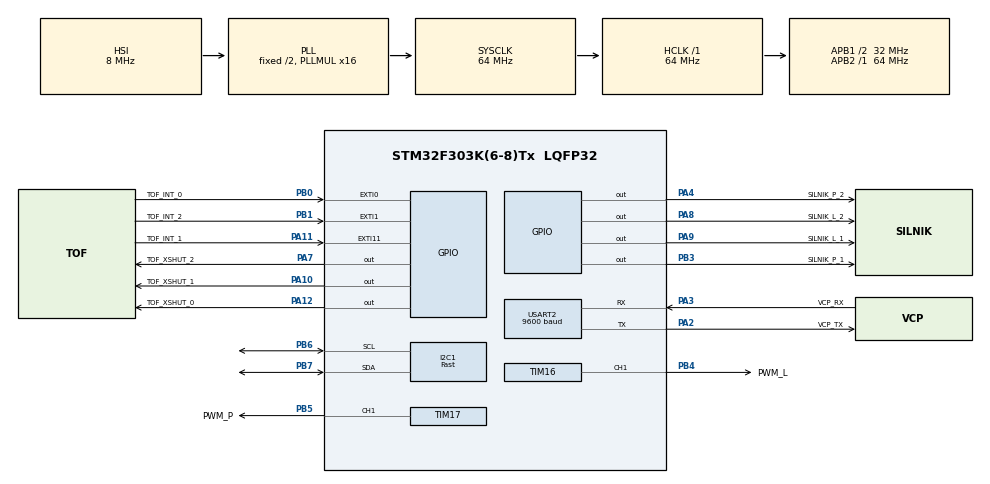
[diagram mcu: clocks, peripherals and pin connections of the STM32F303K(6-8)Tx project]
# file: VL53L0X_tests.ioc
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I2C1.I2C_Speed_Mode=I2C_Fast
I2C1.Timing=0x0000020B
Mcu.Family=STM32F3
Mcu.Name=STM32F303K(6-8)Tx
Mcu.Package=LQFP32
NVIC.EXTI0_IRQn=true\:0\:0\:false\:false\:true\:true\:true
NVIC.EXTI15_10_IRQn=true\:0\:0\:false\:false\:true\:true\:true
NVIC.EXTI1_IRQn=true\:0\:0\:false\:false\:true\:true\:true
NVIC.PriorityGroup=NVIC_PRIORITYGROUP_4
NVIC.USART2_IRQn=true\:0\:0\:false\:false\:true\:true\:true
PA10.GPIO_Label=TOF_XSHUT_1
PA10.Signal=GPIO_Output
PA11.GPIO_Label=TOF_INT_1
PA11.GPIO_ModeDefaultEXTI=GPIO_MODE_IT_FALLING
PA11.Signal=GPXTI11
PA12.GPIO_Label=TOF_XSHUT_0
PA12.Signal=GPIO_Output
PA13.GPIO_Label=SWDIO
PA13.Mode=Serial_Wire
PA13.Signal=SYS_JTMS-SWDIO
PA14.GPIO_Label=SWCLK
PA14.Mode=Serial_Wire
PA14.Signal=SYS_JTCK-SWCLK
PA2.GPIO_Label=VCP_TX
PA2.GPIO_PuPd=GPIO_NOPULL
PA2.Mode=Asynchronous
PA2.Signal=USART2_TX
PA3.GPIO_Label=VCP_RX
PA3.Mode=Asynchronous
PA3.Signal=USART2_RX
PA4.GPIO_Label=SILNIK_P_2
PA4.Signal=GPIO_Output
PA7.GPIO_Label=TOF_XSHUT_2
PA7.Signal=GPIO_Output
PA8.GPIO_Label=SILNIK_L_2
PA8.Signal=GPIO_Output
PA9.GPIO_Label=SILNIK_L_1
PA9.Signal=GPIO_Output
PB0.GPIO_Label=TOF_INT_0
PB0.GPIO_ModeDefaultEXTI=GPIO_MODE_IT_FALLING
PB0.Signal=GPXTI0
PB1.GPIO_Label=TOF_INT_2
PB1.GPIO_ModeDefaultEXTI=GPIO_MODE_IT_FALLING
PB1.Signal=GPXTI1
PB3.GPIO_Label=SILNIK_P_1
PB3.Signal=GPIO_Output
PB4.GPIO_Label=PWM_L
PB4.Signal=S_TIM16_CH1
PB5.GPIO_Label=PWM_P
PB5.Signal=S_TIM17_CH1
PB6.Mode=I2C
PB6.Signal=I2C1_SCL
PB7.Mode=I2C
PB7.Signal=I2C1_SDA
PF0\ /\ OSC_IN.GPIO_Label=MCO
PF0\ /\ OSC_IN.Mode=HSE-External-Clock-Source
PF0\ /\ OSC_IN.Signal=RCC_OSC_IN
ProjectManager.HeapSize=0x200
ProjectManager.StackSize=0x400
ProjectManager.TargetToolchain=STM32CubeIDE
RCC.AHBFreq_Value=64000000
RCC.APB1CLKDivider=RCC_HCLK_DIV2
RCC.APB1Freq_Value=32000000
RCC.APB1TimFreq_Value=64000000
RCC.APB2Freq_Value=64000000
RCC.APB2TimFreq_Value=64000000
RCC.CortexFreq_Value=64000000
RCC.HCLKFreq_Value=64000000
RCC.HSE_VALUE=8000000
RCC.HSI_VALUE=8000000
RCC.PLLMUL=RCC_PLL_MUL16
RCC.SYSCLKFreq_VALUE=64000000
RCC.SYSCLKSourceVirtual=RCC_SYSCLKSOURCE_PLLCLK
SH.S_TIM16_CH1.0=TIM16_CH1,PWM Generation1 CH1
SH.S_TIM17_CH1.0=TIM17_CH1,PWM Generation1 CH1
TIM16.Channel=TIM_CHANNEL_1
TIM16.Period=99
TIM16.Prescaler=9
TIM17.Channel=TIM_CHANNEL_1
TIM17.Period=99
TIM17.Prescaler=9
USART2.BaudRate=9600
USART2.SwapParam=ADVFEATURE_SWAP_ENABLE
USART2.VirtualMode-Asynchronous=VM_ASYNC
VP_TIM16_VS_ClockSourceINT.Mode=Enable_Timer
VP_TIM17_VS_ClockSourceINT.Mode=Enable_Timer
board=NUCLEO-F303K8

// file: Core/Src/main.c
/* USER CODE BEGIN Header */
/**
  ******************************************************************************
  * @file           : main.c
  * @brief          : Main program body
  ******************************************************************************
  * @attention
  *
  * <h2><center>&copy; Copyright (c) 2023 STMicroelectronics.
  * All rights reserved.</center></h2>
  *
  * This software component is licensed by ST under BSD 3-Clause license,
  * the "License"; You may not use this file except in compliance with the
  * License. You may obtain a copy of the License at:
  *                        opensource.org/licenses/BSD-3-Clause
  *
  ******************************************************************************
  */
/* USER CODE END Header */
#include "main.h"

/* USER CODE BEGIN Includes */

#include "vl53l0x_api.h"
#include "distance_sensos.h"
#include "distance_data_processing.h"
#include "circular_buffer.h"
#include "filter_moving_averange.h"
#include "motors.h"
#include "pid.h"
#include "robot_controller.h"
#include "remote_controller.h"
/* USER CODE END Includes */

I2C_HandleTypeDef hi2c1;

TIM_HandleTypeDef htim16;
TIM_HandleTypeDef htim17;

UART_HandleTypeDef huart2;

/* USER CODE BEGIN PV */

distance_sensors_t distance_sensors;
circular_buffer_t buffer[3];
_pid_t pid;
remote_controller_t remote_controller;
//volatile uint8_t uart_tx_flag = 1;

/* USER CODE END PV */

void SystemClock_Config(void);
static void MX_GPIO_Init(void);
static void MX_USART2_UART_Init(void);
static void MX_I2C1_Init(void);
static void MX_TIM16_Init(void);
static void MX_TIM17_Init(void);

int main(void)
{

  /* MCU Configuration--------------------------------------------------------*/

  /* Reset of all peripherals, Initializes the Flash interface and the Systick. */
  HAL_Init();

  /* Configure the system clock */
  SystemClock_Config();

  /* Initialize all configured peripherals */
  MX_GPIO_Init();
  MX_USART2_UART_Init();
  MX_I2C1_Init();
  MX_TIM16_Init();
  MX_TIM17_Init();
  /* USER CODE BEGIN 2 */

  // HAL_UART_Transmit(&huart2, Message, MessageLen, 100);

   //
   // VL53L0X init for Single Measurement
   //

  /* USER CODE END 2 */

  /* Infinite loop */
  /* USER CODE BEGIN WHILE */
   distance_sensors_init(&distance_sensors, &hi2c1);
   circular_buffer_init(&buffer[0]);
   circular_buffer_init(&buffer[1]);
   circular_buffer_init(&buffer[2]);
   pid_init(&pid);
   remote_controller_init(&remote_controller, &huart2);
   motors_init(&htim16, &htim17);
   robot_controller_init();

   uint16_t distances[3];
   int16_t pid_out = 0 ;
  // motors_set_speed(RIGHT_MOTOR, 50);
   //motors_set_speed(LEFT_MOTOR, 50);
//   motors_set_direction(RIGHT_MOTOR, GO_FORWARD);
//   motors_set_direction(LEFT_MOTOR, GO_FORWARD);
   //x = sprintf((char*)tab, "L 1: %i\n",distance_sensors_get_distance(&distance_sensors, 0));
   		//HAL_UART_Transmit(&huart2, tab, x, 100);
   HAL_UART_Receive_IT(remote_controller.uart,&remote_controller.one_byte,1);

//   uint8_t tab[20];
//   uint16_t x;

  while (1){

	  if(distance_sensors_is_data_ready(&distance_sensors, 0)){
		  circular_buffer_push(&buffer[0], distance_sensors_get_distance(&distance_sensors, 0));
		  distance_sensors_cleer_interrupt(&distance_sensors, 0);
	  }

	  if(distance_sensors_is_data_ready(&distance_sensors, 1)){
		  circular_buffer_push(&buffer[1], distance_sensors_get_distance(&distance_sensors, 1));
	 	  distance_sensors_cleer_interrupt(&distance_sensors, 1);

	  }

	  if(distance_sensors_is_data_ready(&distance_sensors, 2)){
		  circular_buffer_push(&buffer[2], distance_sensors_get_distance(&distance_sensors, 2));
		  distance_sensors_cleer_interrupt(&distance_sensors, 2);
	  }
	  if(remote_controller_is_data_ready(&remote_controller)){
		  remote_controller_parser(&remote_controller);
		  remote_controller_celar_interrupt(&remote_controller);
		  HAL_UART_Receive_IT(remote_controller.uart,&remote_controller.one_byte,1);
	  }
	  distances[0] = filter_moving_averange(circular_buffer_get_data(&buffer[0]), BUFFER_SIZE);
	  distances[1] = filter_moving_averange(circular_buffer_get_data(&buffer[1]), BUFFER_SIZE);
	  distances[2] = filter_moving_averange(circular_buffer_get_data(&buffer[2]), BUFFER_SIZE);
	  pid_set_params(&pid, remote_controller.kp, remote_controller.ki, remote_controller.kd, 100);
	  pid_out = pid_calculate(&pid, 200, distance_data_processing_get_distance(distances[1], distances[0]));
	  if(remote_controller.robot_state){
		  robot_controller(pid_out, distances[2]);
	  }else{
		  motors_set_speed(LEFT_MOTOR, 0);
		  motors_set_speed(RIGHT_MOTOR, 0);
	  }

//	  HAL_UART_Receive(&huart2, tab, sizeof(tab), 2000);
//	  x = str_to_num(tab);
//
//	  HAL_Delay(10);
//	  motors_set_speed(LEFT_MOTOR, x);
//	  tab[0] = '\0';

	  //HAL_Delay(50);
	  //HAL_UART_Transmit(&huart2, tab, sizeof(tab),  1000);

	  //HAL_Delay(1500);

    /* USER CODE END WHILE */

  }
}

void SystemClock_Config(void)
{
  RCC_OscInitTypeDef RCC_OscInitStruct = {0};
  RCC_ClkInitTypeDef RCC_ClkInitStruct = {0};
  RCC_PeriphCLKInitTypeDef PeriphClkInit = {0};

  /** Initializes the RCC Oscillators according to the specified parameters
  * in the RCC_OscInitTypeDef structure.
  */
  RCC_OscInitStruct.OscillatorType = RCC_OSCILLATORTYPE_HSI;
  RCC_OscInitStruct.HSIState = RCC_HSI_ON;
  RCC_OscInitStruct.HSICalibrationValue = RCC_HSICALIBRATION_DEFAULT;
  RCC_OscInitStruct.PLL.PLLState = RCC_PLL_ON;
  RCC_OscInitStruct.PLL.PLLSource = RCC_PLLSOURCE_HSI;
  RCC_OscInitStruct.PLL.PLLMUL = RCC_PLL_MUL16;
  if (HAL_RCC_OscConfig(&RCC_OscInitStruct) != HAL_OK)
  {
    Error_Handler();
  }
  /** Initializes the CPU, AHB and APB buses clocks
  */
  RCC_ClkInitStruct.ClockType = RCC_CLOCKTYPE_HCLK|RCC_CLOCKTYPE_SYSCLK
                              |RCC_CLOCKTYPE_PCLK1|RCC_CLOCKTYPE_PCLK2;
  RCC_ClkInitStruct.SYSCLKSource = RCC_SYSCLKSOURCE_PLLCLK;
  RCC_ClkInitStruct.AHBCLKDivider = RCC_SYSCLK_DIV1;
  RCC_ClkInitStruct.APB1CLKDivider = RCC_HCLK_DIV2;
  RCC_ClkInitStruct.APB2CLKDivider = RCC_HCLK_DIV1;

  if (HAL_RCC_ClockConfig(&RCC_ClkInitStruct, FLASH_LATENCY_2) != HAL_OK)
  {
    Error_Handler();
  }
  PeriphClkInit.PeriphClockSelection = RCC_PERIPHCLK_I2C1;
  PeriphClkInit.I2c1ClockSelection = RCC_I2C1CLKSOURCE_HSI;
  if (HAL_RCCEx_PeriphCLKConfig(&PeriphClkInit) != HAL_OK)
  {
    Error_Handler();
  }
}

static void MX_I2C1_Init(void)
{

  hi2c1.Instance = I2C1;
  hi2c1.Init.Timing = 0x0000020B;
  hi2c1.Init.OwnAddress1 = 0;
  hi2c1.Init.AddressingMode = I2C_ADDRESSINGMODE_7BIT;
  hi2c1.Init.DualAddressMode = I2C_DUALADDRESS_DISABLE;
  hi2c1.Init.OwnAddress2 = 0;
  hi2c1.Init.OwnAddress2Masks = I2C_OA2_NOMASK;
  hi2c1.Init.GeneralCallMode = I2C_GENERALCALL_DISABLE;
  hi2c1.Init.NoStretchMode = I2C_NOSTRETCH_DISABLE;
  if (HAL_I2C_Init(&hi2c1) != HAL_OK)
  {
    Error_Handler();
  }
  /** Configure Analogue filter
  */
  if (HAL_I2CEx_ConfigAnalogFilter(&hi2c1, I2C_ANALOGFILTER_ENABLE) != HAL_OK)
  {
    Error_Handler();
  }
  /** Configure Digital filter
  */
  if (HAL_I2CEx_ConfigDigitalFilter(&hi2c1, 0) != HAL_OK)
  {
    Error_Handler();
  }

}

static void MX_TIM16_Init(void)
{

  TIM_OC_InitTypeDef sConfigOC = {0};
  TIM_BreakDeadTimeConfigTypeDef sBreakDeadTimeConfig = {0};

  htim16.Instance = TIM16;
  htim16.Init.Prescaler = 9;
  htim16.Init.CounterMode = TIM_COUNTERMODE_UP;
  htim16.Init.Period = 99;
  htim16.Init.ClockDivision = TIM_CLOCKDIVISION_DIV1;
  htim16.Init.RepetitionCounter = 0;
  htim16.Init.AutoReloadPreload = TIM_AUTORELOAD_PRELOAD_DISABLE;
  if (HAL_TIM_Base_Init(&htim16) != HAL_OK)
  {
    Error_Handler();
  }
  if (HAL_TIM_PWM_Init(&htim16) != HAL_OK)
  {
    Error_Handler();
  }
  sConfigOC.OCMode = TIM_OCMODE_PWM1;
  sConfigOC.Pulse = 0;
  sConfigOC.OCPolarity = TIM_OCPOLARITY_HIGH;
  sConfigOC.OCNPolarity = TIM_OCNPOLARITY_HIGH;
  sConfigOC.OCFastMode = TIM_OCFAST_DISABLE;
  sConfigOC.OCIdleState = TIM_OCIDLESTATE_RESET;
  sConfigOC.OCNIdleState = TIM_OCNIDLESTATE_RESET;
  if (HAL_TIM_PWM_ConfigChannel(&htim16, &sConfigOC, TIM_CHANNEL_1) != HAL_OK)
  {
    Error_Handler();
  }
  sBreakDeadTimeConfig.OffStateRunMode = TIM_OSSR_DISABLE;
  sBreakDeadTimeConfig.OffStateIDLEMode = TIM_OSSI_DISABLE;
  sBreakDeadTimeConfig.LockLevel = TIM_LOCKLEVEL_OFF;
  sBreakDeadTimeConfig.DeadTime = 0;
  sBreakDeadTimeConfig.BreakState = TIM_BREAK_DISABLE;
  sBreakDeadTimeConfig.BreakPolarity = TIM_BREAKPOLARITY_HIGH;
  sBreakDeadTimeConfig.BreakFilter = 0;
  sBreakDeadTimeConfig.AutomaticOutput = TIM_AUTOMATICOUTPUT_DISABLE;
  if (HAL_TIMEx_ConfigBreakDeadTime(&htim16, &sBreakDeadTimeConfig) != HAL_OK)
  {
    Error_Handler();
  }
  HAL_TIM_MspPostInit(&htim16);

}

static void MX_TIM17_Init(void)
{

  TIM_OC_InitTypeDef sConfigOC = {0};
  TIM_BreakDeadTimeConfigTypeDef sBreakDeadTimeConfig = {0};

  htim17.Instance = TIM17;
  htim17.Init.Prescaler = 9;
  htim17.Init.CounterMode = TIM_COUNTERMODE_UP;
  htim17.Init.Period = 99;
  htim17.Init.ClockDivision = TIM_CLOCKDIVISION_DIV1;
  htim17.Init.RepetitionCounter = 0;
  htim17.Init.AutoReloadPreload = TIM_AUTORELOAD_PRELOAD_DISABLE;
  if (HAL_TIM_Base_Init(&htim17) != HAL_OK)
  {
    Error_Handler();
  }
  if (HAL_TIM_PWM_Init(&htim17) != HAL_OK)
  {
    Error_Handler();
  }
  sConfigOC.OCMode = TIM_OCMODE_PWM1;
  sConfigOC.Pulse = 0;
  sConfigOC.OCPolarity = TIM_OCPOLARITY_HIGH;
  sConfigOC.OCNPolarity = TIM_OCNPOLARITY_HIGH;
  sConfigOC.OCFastMode = TIM_OCFAST_DISABLE;
  sConfigOC.OCIdleState = TIM_OCIDLESTATE_RESET;
  sConfigOC.OCNIdleState = TIM_OCNIDLESTATE_RESET;
  if (HAL_TIM_PWM_ConfigChannel(&htim17, &sConfigOC, TIM_CHANNEL_1) != HAL_OK)
  {
    Error_Handler();
  }
  sBreakDeadTimeConfig.OffStateRunMode = TIM_OSSR_DISABLE;
  sBreakDeadTimeConfig.OffStateIDLEMode = TIM_OSSI_DISABLE;
  sBreakDeadTimeConfig.LockLevel = TIM_LOCKLEVEL_OFF;
  sBreakDeadTimeConfig.DeadTime = 0;
  sBreakDeadTimeConfig.BreakState = TIM_BREAK_DISABLE;
  sBreakDeadTimeConfig.BreakPolarity = TIM_BREAKPOLARITY_HIGH;
  sBreakDeadTimeConfig.BreakFilter = 0;
  sBreakDeadTimeConfig.AutomaticOutput = TIM_AUTOMATICOUTPUT_DISABLE;
  if (HAL_TIMEx_ConfigBreakDeadTime(&htim17, &sBreakDeadTimeConfig) != HAL_OK)
  {
    Error_Handler();
  }
  HAL_TIM_MspPostInit(&htim17);

}

static void MX_USART2_UART_Init(void)
{

  huart2.Instance = USART2;
  huart2.Init.BaudRate = 9600;
  huart2.Init.WordLength = UART_WORDLENGTH_8B;
  huart2.Init.StopBits = UART_STOPBITS_1;
  huart2.Init.Parity = UART_PARITY_NONE;
  huart2.Init.Mode = UART_MODE_TX_RX;
  huart2.Init.HwFlowCtl = UART_HWCONTROL_NONE;
  huart2.Init.OverSampling = UART_OVERSAMPLING_16;
  huart2.Init.OneBitSampling = UART_ONE_BIT_SAMPLE_DISABLE;
  huart2.AdvancedInit.AdvFeatureInit = UART_ADVFEATURE_SWAP_INIT;
  huart2.AdvancedInit.Swap = UART_ADVFEATURE_SWAP_ENABLE;
  if (HAL_UART_Init(&huart2) != HAL_OK)
  {
    Error_Handler();
  }

}

static void MX_GPIO_Init(void)
{
  GPIO_InitTypeDef GPIO_InitStruct = {0};

  /* GPIO Ports Clock Enable */
  __HAL_RCC_GPIOF_CLK_ENABLE();
  __HAL_RCC_GPIOA_CLK_ENABLE();
  __HAL_RCC_GPIOB_CLK_ENABLE();

  /*Configure GPIO pin Output Level */
  HAL_GPIO_WritePin(GPIOA, SILNIK_P_2_Pin|TOF_XSHUT_2_Pin|SILNIK_L_2_Pin|SILNIK_L_1_Pin
                          |TOF_XSHUT_1_Pin|TOF_XSHUT_0_Pin, GPIO_PIN_RESET);

  /*Configure GPIO pin Output Level */
  HAL_GPIO_WritePin(SILNIK_P_1_GPIO_Port, SILNIK_P_1_Pin, GPIO_PIN_RESET);

  /*Configure GPIO pins : SILNIK_P_2_Pin TOF_XSHUT_2_Pin SILNIK_L_2_Pin SILNIK_L_1_Pin
                           TOF_XSHUT_1_Pin TOF_XSHUT_0_Pin */
  GPIO_InitStruct.Pin = SILNIK_P_2_Pin|TOF_XSHUT_2_Pin|SILNIK_L_2_Pin|SILNIK_L_1_Pin
                          |TOF_XSHUT_1_Pin|TOF_XSHUT_0_Pin;
  GPIO_InitStruct.Mode = GPIO_MODE_OUTPUT_PP;
  GPIO_InitStruct.Pull = GPIO_NOPULL;
  GPIO_InitStruct.Speed = GPIO_SPEED_FREQ_LOW;
  HAL_GPIO_Init(GPIOA, &GPIO_InitStruct);

  /*Configure GPIO pins : TOF_INT_0_Pin TOF_INT_2_Pin */
  GPIO_InitStruct.Pin = TOF_INT_0_Pin|TOF_INT_2_Pin;
  GPIO_InitStruct.Mode = GPIO_MODE_IT_FALLING;
  GPIO_InitStruct.Pull = GPIO_NOPULL;
  HAL_GPIO_Init(GPIOB, &GPIO_InitStruct);

  /*Configure GPIO pin : TOF_INT_1_Pin */
  GPIO_InitStruct.Pin = TOF_INT_1_Pin;
  GPIO_InitStruct.Mode = GPIO_MODE_IT_FALLING;
  GPIO_InitStruct.Pull = GPIO_NOPULL;
  HAL_GPIO_Init(TOF_INT_1_GPIO_Port, &GPIO_InitStruct);

  /*Configure GPIO pin : SILNIK_P_1_Pin */
  GPIO_InitStruct.Pin = SILNIK_P_1_Pin;
  GPIO_InitStruct.Mode = GPIO_MODE_OUTPUT_PP;
  GPIO_InitStruct.Pull = GPIO_NOPULL;
  GPIO_InitStruct.Speed = GPIO_SPEED_FREQ_LOW;
  HAL_GPIO_Init(SILNIK_P_1_GPIO_Port, &GPIO_InitStruct);

  /* EXTI interrupt init*/
  HAL_NVIC_SetPriority(EXTI0_IRQn, 0, 0);
  HAL_NVIC_EnableIRQ(EXTI0_IRQn);

  HAL_NVIC_SetPriority(EXTI1_IRQn, 0, 0);
  HAL_NVIC_EnableIRQ(EXTI1_IRQn);

  HAL_NVIC_SetPriority(EXTI15_10_IRQn, 0, 0);
  HAL_NVIC_EnableIRQ(EXTI15_10_IRQn);

}

/* USER CODE BEGIN 4 */
void HAL_GPIO_EXTI_Callback(uint16_t GPIO_Pin){
	if(GPIO_Pin == TOF_INT_0_Pin)
	{
//		VL53L0X_GetRangingMeasurementData(Dev, &RangingData);
//		VL53L0X_ClearInterruptMask(Dev, VL53L0X_REG_SYSTEM_INTERRUPT_GPIO_NEW_SAMPLE_READY);
		distance_sensors_set_interrupt(&distance_sensors, 0);

	}

	if(GPIO_Pin == TOF_INT_1_Pin)
		{
	//		VL53L0X_GetRangingMeasurementData(Dev, &RangingData);
	//		VL53L0X_ClearInterruptMask(Dev, VL53L0X_REG_SYSTEM_INTERRUPT_GPIO_NEW_SAMPLE_READY);
		distance_sensors_set_interrupt(&distance_sensors, 1);

		}
	if(GPIO_Pin == TOF_INT_2_Pin)
			{
		//		VL53L0X_GetRangingMeasurementData(Dev, &RangingData);
		//		VL53L0X_ClearInterruptMask(Dev, VL53L0X_REG_SYSTEM_INTERRUPT_GPIO_NEW_SAMPLE_READY);
			distance_sensors_set_interrupt(&distance_sensors, 2);

			}
}

void HAL_UART_RxCpltCallback(UART_HandleTypeDef *huart){

	if(huart->Instance == remote_controller.uart->Instance){
		remote_controller.data[remote_controller.buf_counter++] = remote_controller.one_byte;
		if(remote_controller.one_byte != '\n'){
			HAL_UART_Receive_IT(remote_controller.uart,&remote_controller.one_byte,1);
		}else{
			remote_controller_set_interrupt(&remote_controller);
			remote_controller.buf_counter = 0;
		}
	}

}
//void HAL_UART_TxCpltCallback(UART_HandleTypeDef *huart){
//
//	if(huart->Instance == remote_controller.uart->Instance){
//		uart_tx_flag = 1;
//	}
//}
/* USER CODE END 4 */

void Error_Handler(void)
{
}

/************************ (C) COPYRIGHT STMicroelectronics *****END OF FILE****/
